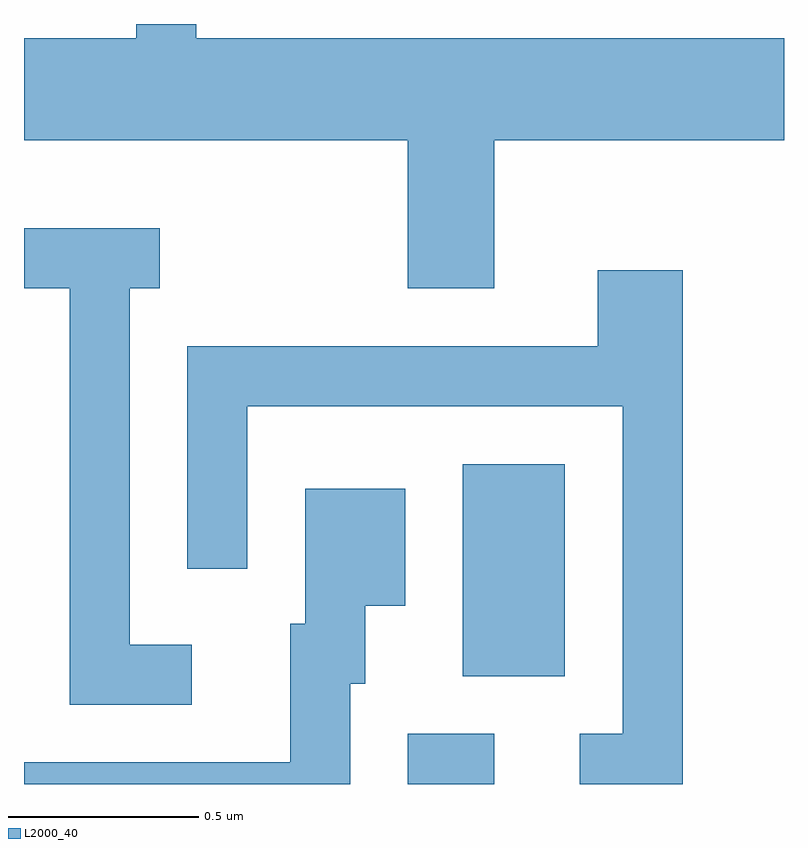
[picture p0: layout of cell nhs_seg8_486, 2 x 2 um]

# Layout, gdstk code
import gdstk
lib = gdstk.Library(unit=1e-6, precision=1e-09)
def R(c, l, rs):  # rectangles x0, y0, x1, y1
    for r in rs: c.add(gdstk.rectangle(r[:2], r[2:], *l))
def P(c, l, *ps):  # polygons
    for p in ps: c.add(gdstk.Polygon(p, *l))
L2000_40 = (2000, 40)

nhs_seg8_486 = lib.new_cell('nhs_seg8_486')
R(nhs_seg8_486, L2000_40, [(189.621,1881.342,189.849,1881.474), (189.766,1881.626,190.034,1882.184)])
P(nhs_seg8_486, L2000_40, [(189.849,1883.036),(190.611,1883.036),(190.611,1883.304),(189.064,1883.304),(189.064,1883.342),(188.906,1883.342),(188.906,1883.304),(188.611,1883.304),(188.611,1883.036),(189.621,1883.036),(189.621,1882.646),(189.849,1882.646)],
  [(189.053,1881.709),(188.889,1881.709),(188.889,1882.646),(188.968,1882.646),(188.968,1882.804),(188.611,1882.804),(188.611,1882.646),(188.731,1882.646),(188.731,1881.551),(189.053,1881.551)],
  [(190.344,1882.694),(190.121,1882.694),(190.121,1882.494),(189.041,1882.494),(189.041,1881.908),(189.199,1881.908),(189.199,1882.336),(190.186,1882.336),(190.186,1881.474),(190.073,1881.474),(190.073,1881.342),(190.344,1881.342)],
  [(189.469,1881.606),(189.509,1881.606),(189.509,1881.811),(189.614,1881.811),(189.614,1882.119),(189.351,1882.119),(189.351,1881.764),(189.311,1881.764),(189.311,1881.399),(188.611,1881.399),(188.611,1881.342),(189.469,1881.342)])

lib.write_gds('nhs_seg8_486.gds')
